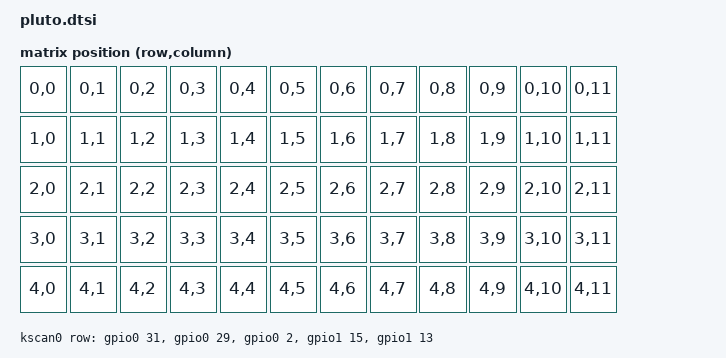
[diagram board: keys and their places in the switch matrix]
/*
 * Pluto split keyboard - shared devicetree configuration
 *
 * Using direct &gpio0/&gpio1 references (not &pro_micro) to avoid
 * connector gpio-map restrictions. Pin mapping from config.yaml:
 *
 * ROWS (shared across both halves, same physical nets):
 *   row0 = num    P0.31 -> &gpio0 31
 *   row1 = top    P0.29 -> &gpio0 29
 *   row2 = home   P0.02 -> &gpio0 2
 *   row3 = bottom P1.15 -> &gpio1 15
 *   row4 = mod    P1.13 -> &gpio1 13
 *
 * COLUMNS (defined per-half in left/right overlays):
 *   col first:  P0.20 -> &gpio0 20
 *   col second: P0.22 -> &gpio0 22
 *   col third:  P0.24 -> &gpio0 24
 *   col fourth: P1.00 -> &gpio1 0
 *   col fifth:  P0.11 -> &gpio0 11
 *   col sixth:  P0.17 -> &gpio0 17
 *
 * Diode direction: col2row
 */

#include <dt-bindings/zmk/matrix_transform.h>

/ {
    kscan0: kscan0 {
        compatible = "zmk,kscan-gpio-matrix";
        diode-direction = "col2row";
        wakeup-source;

        row-gpios
            = <&gpio0 31 (GPIO_ACTIVE_HIGH | GPIO_PULL_DOWN)>  /* row0: num    P0.31 */
            , <&gpio0 29 (GPIO_ACTIVE_HIGH | GPIO_PULL_DOWN)>  /* row1: top    P0.29 */
            , <&gpio0  2 (GPIO_ACTIVE_HIGH | GPIO_PULL_DOWN)>  /* row2: home   P0.02 */
            , <&gpio1 15 (GPIO_ACTIVE_HIGH | GPIO_PULL_DOWN)>  /* row3: bottom P1.15 */
            , <&gpio1 13 (GPIO_ACTIVE_HIGH | GPIO_PULL_DOWN)>  /* row4: mod    P1.13 */
            ;
    };

    /*
     * 5 rows x 12 columns (6 per half).
     * Left  = cols 0-5  (no offset)
     * Right = cols 6-11 (col-offset = 6, set in right overlay)
     *
     * Row 0 = num (top), row 4 = mod (bottom).
     * Column order left→right on left half: first→sixth
     * Column order left→right on right half (mirrored PCB): sixth→first
     */
    default_transform: keymap_transform_0 {
        compatible = "zmk,matrix-transform";
        columns = <12>;
        rows = <5>;
        map = <
        /* LEFT half cols 0-5            RIGHT half cols 6-11 */
           RC(0,0) RC(0,1) RC(0,2) RC(0,3) RC(0,4) RC(0,5)   RC(0,6) RC(0,7) RC(0,8) RC(0,9) RC(0,10) RC(0,11)
           RC(1,0) RC(1,1) RC(1,2) RC(1,3) RC(1,4) RC(1,5)   RC(1,6) RC(1,7) RC(1,8) RC(1,9) RC(1,10) RC(1,11)
           RC(2,0) RC(2,1) RC(2,2) RC(2,3) RC(2,4) RC(2,5)   RC(2,6) RC(2,7) RC(2,8) RC(2,9) RC(2,10) RC(2,11)
           RC(3,0) RC(3,1) RC(3,2) RC(3,3) RC(3,4) RC(3,5)   RC(3,6) RC(3,7) RC(3,8) RC(3,9) RC(3,10) RC(3,11)
           RC(4,0) RC(4,1) RC(4,2) RC(4,3) RC(4,4) RC(4,5)   RC(4,6) RC(4,7) RC(4,8) RC(4,9) RC(4,10) RC(4,11)
        >;
    };

    physical_layout0: physical_layout_0 {
        compatible = "zmk,physical-layout";
        display-name = "Default Layout";
        kscan = <&kscan0>;
        transform = <&default_transform>;
    };

    chosen {
        zmk,physical-layout = &physical_layout0;
        zmk,kscan = &kscan0;
    };
};
